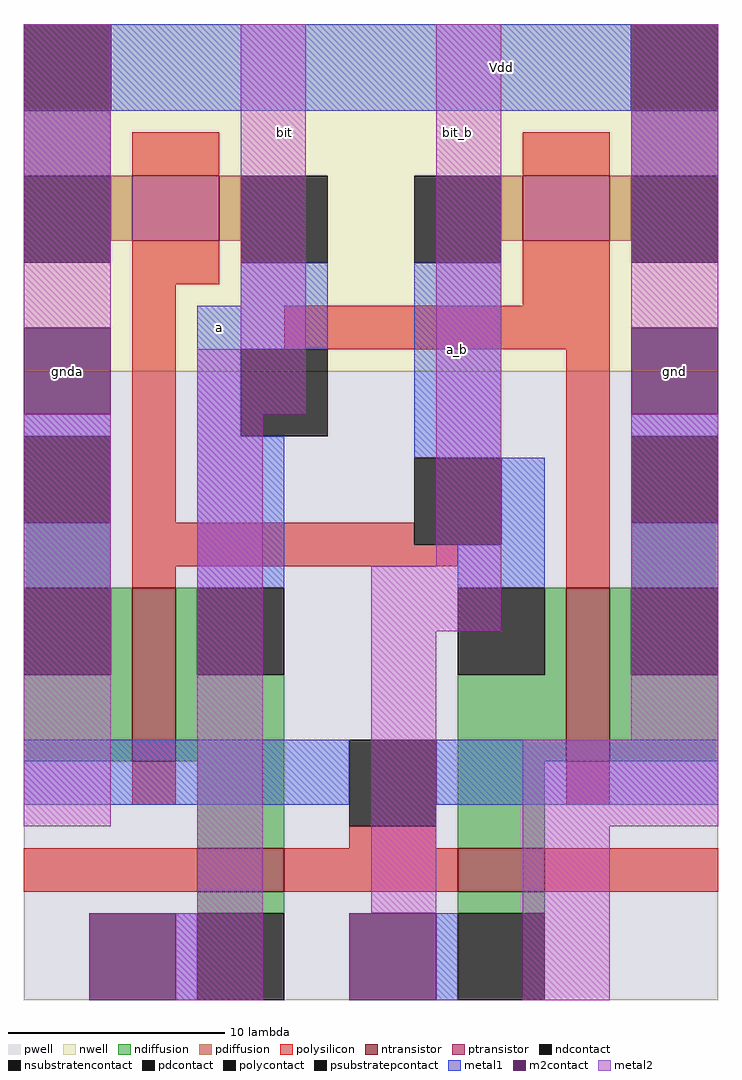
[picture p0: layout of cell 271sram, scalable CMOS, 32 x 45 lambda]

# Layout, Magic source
magic
tech scmos
<< pwell >>
rect 0 0 32 29
<< nwell >>
rect 0 29 32 45
<< polysilicon >>
rect 5 38 9 40
rect 23 38 27 40
rect 5 33 9 35
rect 5 22 7 33
rect 23 32 27 35
rect 12 30 27 32
rect 5 21 18 22
rect 5 20 20 21
rect 5 19 7 20
rect 25 19 27 30
rect 5 9 7 11
rect 15 7 19 8
rect 25 9 27 11
rect 0 5 8 7
rect 12 5 20 7
rect 24 5 32 7
<< ndiffusion >>
rect 0 19 4 22
rect 28 19 32 22
rect 4 15 5 19
rect 0 11 5 15
rect 7 15 8 19
rect 7 11 12 15
rect 24 15 25 19
rect 8 7 12 11
rect 20 11 25 15
rect 27 15 28 19
rect 27 11 32 15
rect 20 7 24 11
rect 8 4 12 5
rect 20 4 24 5
<< pdiffusion >>
rect 0 38 4 41
rect 28 38 32 41
rect 4 35 5 38
rect 9 35 10 38
rect 22 35 23 38
rect 27 35 28 38
<< metal1 >>
rect 4 41 28 45
rect 0 38 4 41
rect 28 38 32 41
rect 10 32 14 34
rect 0 26 4 27
rect 0 19 4 22
rect 8 30 14 32
rect 8 26 10 30
rect 8 19 12 26
rect 18 25 22 34
rect 28 26 32 27
rect 22 21 24 25
rect 20 19 24 21
rect 28 19 32 22
rect 0 9 15 12
rect 19 9 32 12
rect 7 0 8 4
rect 19 0 20 4
<< metal2 >>
rect 0 31 4 45
rect 10 30 13 45
rect 0 8 4 27
rect 8 27 13 30
rect 8 4 11 27
rect 19 20 22 45
rect 16 17 22 20
rect 28 31 32 45
rect 16 4 19 17
rect 28 12 32 27
rect 7 0 11 4
rect 23 8 32 12
rect 23 0 27 8
<< ntransistor >>
rect 5 11 7 19
rect 25 11 27 19
rect 8 5 12 7
rect 20 5 24 7
<< ptransistor >>
rect 5 35 9 38
rect 23 35 27 38
<< polycontact >>
rect 10 26 14 30
rect 18 21 22 25
rect 15 8 19 12
<< ndcontact >>
rect 0 15 4 19
rect 8 15 12 19
rect 20 15 24 19
rect 28 15 32 19
rect 8 0 12 4
rect 20 0 24 4
<< pdcontact >>
rect 0 34 4 38
rect 10 34 14 38
rect 18 34 22 38
rect 28 34 32 38
<< m2contact >>
rect 0 27 4 31
rect 28 27 32 31
rect 3 0 7 4
rect 15 0 19 4
<< psubstratepcontact >>
rect 0 22 4 26
rect 28 22 32 26
<< nsubstratencontact >>
rect 0 41 4 45
rect 28 41 32 45
<< labels >>
rlabel metal1 22 43 22 43 1 Vdd
rlabel metal2 20 40 20 40 1 bit_b
rlabel metal2 12 40 12 40 1 bit
rlabel m2contact 30 29 30 29 1 gnd
rlabel metal1 9 31 9 31 1 a
rlabel m2contact 2 29 2 29 1 gnda
rlabel metal1 20 30 20 30 5 a_b
<< end >>
